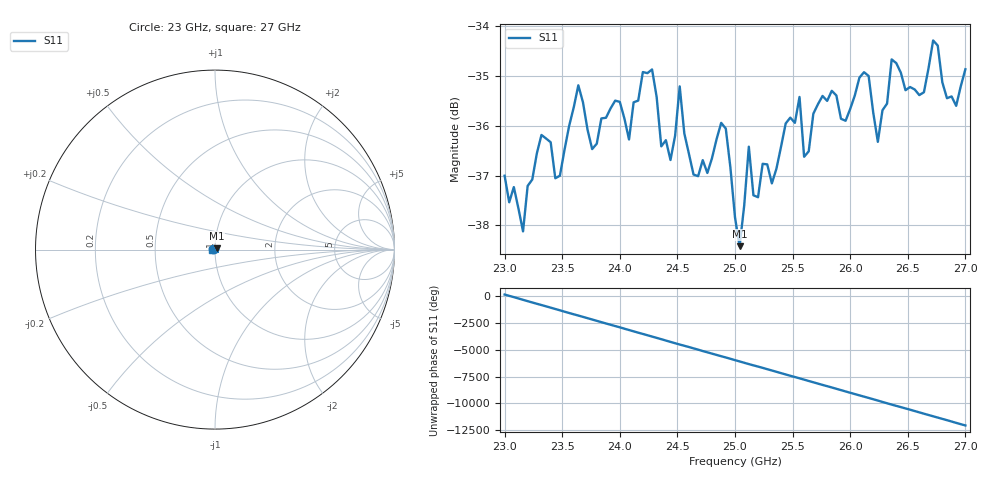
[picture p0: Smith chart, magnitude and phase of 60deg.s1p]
#  HZ  S  RI  R  50.00
! Rohde & Schwarz ZVA40 4Ports - Version 3.90 - 1145.1110k42 SN: 100403
! Date: 2023-09-26 10:51:36
! Measurement: S12
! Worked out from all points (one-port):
!   101 points, 23 GHz to 27 GHz, reference 50 ohm
!   lowest |S11| = -38.4 dB at 25.04 GHz (marker M1), VSWR 1.02, Z = 50.9 + j0.812 ohm
!   |S11| at or under -10 dB: start of sweep to end of sweep
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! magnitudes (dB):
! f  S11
! 23 GHz  -37.0
! 23.16 GHz  -38.1
! 23.32 GHz  -36.2
! 23.52 GHz  -36.5
! 23.64 GHz  -35.2
! 23.76 GHz  -36.5
! 24 GHz  -35.5
! 24.08 GHz  -36.3
! 24.28 GHz  -34.9
! 24.44 GHz  -36.7
! 24.52 GHz  -35.2
! 24.64 GHz  -37.0
! 24.92 GHz  -36.1
! 25 GHz  -37.8
! 25.04 GHz  -38.4
! 25.12 GHz  -36.4
! 25.2 GHz  -37.4
! 25.52 GHz  -35.9
! 25.56 GHz  -35.4
! 25.6 GHz  -36.6
! 26 GHz  -35.7
! 26.16 GHz  -35.0
! 26.24 GHz  -36.3
! 26.36 GHz  -34.7
! 26.52 GHz  -35.2
! 26.72 GHz  -34.3
! 26.84 GHz  -35.4
! 27 GHz  -34.9
